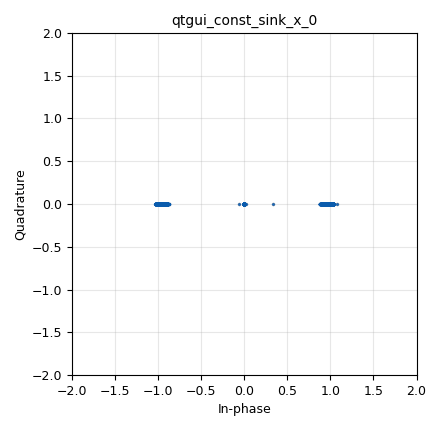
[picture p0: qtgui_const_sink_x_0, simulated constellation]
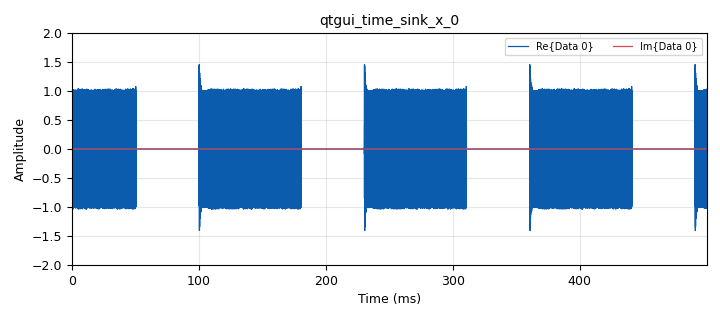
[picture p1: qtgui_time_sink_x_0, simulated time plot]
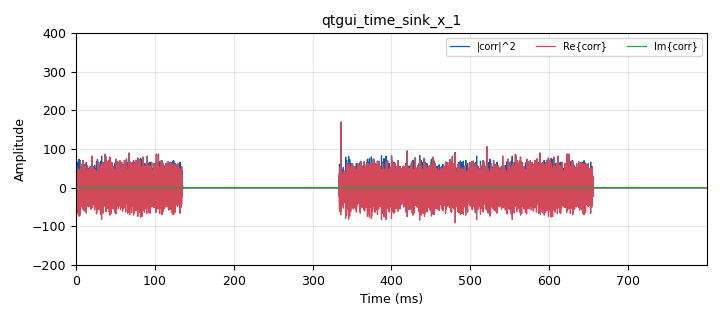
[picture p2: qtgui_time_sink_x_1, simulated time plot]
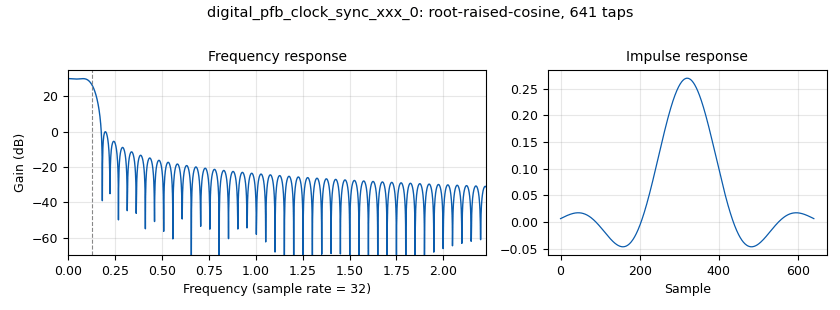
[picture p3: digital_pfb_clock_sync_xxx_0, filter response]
options:
  parameters:
    category: Custom
    generate_options: qt_gui
    id: test_corr_est
    output_language: python
  states: {}

blocks:
- name: bb_filter
  id: variable
  parameters:
    value: firdes.root_raised_cosine(sps, sps, 1, eb, 101)
  states: {}
- name: constel
  id: variable_constellation
  parameters:
    const_points: '[1,-1]'
    dims: '1'
    normalization: digital.constellation.AMPLITUDE_NORMALIZATION
    precision: '8'
    rot_sym: '2'
    sym_map: '[0,1]'
    type: calcdist
  states: {}
- name: data
  id: variable
  parameters:
    value: '[0]*4+[random.getrandbits(8) for i in range(payload_size)]'
  states: {}
- name: delay
  id: variable_qtgui_range
  parameters:
    gui_hint: 5,0,1,2
    label: delay
    start: '0'
    step: '1'
    stop: '200'
    value: '90'
  states: {state: disabled}
- name: eb
  id: variable
  parameters:
    value: '0.35'
  states: {}
- name: freq_offset
  id: variable_qtgui_range
  parameters:
    comment: 频率偏移
    gui_hint: 4,0,1,1
    label: Frequency Offset
    start: '-0.001'
    step: '0.00002'
    stop: '0.001'
    value: '0'
  states: {}
- name: gap
  id: variable
  parameters:
    value: '20000'
  states: {}
- name: matched_filter
  id: variable
  parameters:
    value: firdes.root_raised_cosine(nfilts, nfilts, 1, eb, int(11*sps*nfilts))
  states: {}
- name: modulated_sync_word
  id: variable_modulate_vector
  parameters:
    comment: |-
      调制矢量：调制数据向量并应用整形滤波器
      基于 rxmod 调制器对 preamble 进行调制，生成同步字
    data: preamble
    mod: rxmod
    taps: '[1]'
  states: {}
- name: nfilts
  id: variable
  parameters:
    value: '32'
  states: {}
- name: noise
  id: variable_qtgui_range
  parameters:
    comment: 噪声
    gui_hint: 3,0,1,1
    label: Noise
    start: '0'
    step: '0.005'
    stop: '1'
    value: '0'
  states: {}
- name: payload_size
  id: variable
  parameters:
    value: '992'
  states: {}
- name: phase
  id: variable_qtgui_range
  parameters:
    gui_hint: 3,1,1,1
    label: Phase offset
    start: '-2*numpy.pi'
    step: '0.1'
    stop: 2*numpy.pi
    value: '0'
  states: {}
- name: preamble
  id: variable
  parameters:
    value: '[0xac, 0xdd, 0xa4, 0xe2, 0xf2, 0x8c, 0x20, 0xfc]'
  states: {}
- name: rrc_taps
  id: variable
  parameters:
    value: firdes.root_raised_cosine(nfilts, nfilts, 1.0/float(sps), eb, 5*sps*nfilts)
  states: {}
- name: rxmod
  id: variable
  parameters:
    comment: |-
      https://www.gnuradio.org/doc/sphinx-3.7.1/digital/blocks.html
      digital.generic_mod(constel, False, sps, True, eb, False, False)
      class gnuradio.digital.generic_mod(constellation, differential=False, samples_per_symbol=2, pre_diff_code=True, excess_bw=0.35, verbose=False, log=False)
      创建一个调制器变量（就是发送端的 BPSK 调制，sps = 4）
    value: digital.generic_mod(constel, False, sps, True, eb, False, False)
  states: {}
- name: samp_rate
  id: variable
  parameters:
    value: '100000'
  states: {}
- name: sps
  id: variable
  parameters:
    value: '4'
  states: {}
- name: time_offset
  id: variable_qtgui_range
  parameters:
    comment: 时间偏移
    gui_hint: 4,1,1,1
    label: Timing Offset
    start: '0.995'
    step: '0.00001'
    stop: '1.005'
    value: '1'
  states: {}
- name: blocks_char_to_float_0
  id: blocks_char_to_float
  parameters:
    scale: '1'
  states: {state: disabled}
- name: blocks_char_to_float_0_0
  id: blocks_char_to_float
  parameters:
    scale: '1'
  states: {state: disabled}
- name: blocks_complex_to_float_0
  id: blocks_complex_to_float
  parameters: {}
  states: {}
- name: blocks_complex_to_mag_0
  id: blocks_complex_to_mag
  parameters: {}
  states: {}
- name: blocks_delay_0
  id: blocks_delay
  parameters:
    delay: int(delay)
    type: float
  states: {state: disabled}
- name: blocks_null_source_0
  id: blocks_null_source
  parameters:
    type: byte
  states: {state: disabled}
- name: blocks_null_source_0_0
  id: blocks_null_source
  parameters:
    type: complex
  states: {}
- name: blocks_stream_mux_0
  id: blocks_stream_mux
  parameters:
    lengths: (len(preamble)/8+payload_size), gap/sps/8
    type: byte
  states: {state: disabled}
- name: blocks_stream_mux_0_0
  id: blocks_stream_mux
  parameters:
    comment: ((len(preamble)+len(data))*8*sps, gap) 合流
    lengths: ((len(preamble)+len(data))*8*sps, gap)
    type: complex
  states: {}
- name: blocks_sub_xx_0
  id: blocks_sub_xx
  parameters:
    type: float
  states: {state: disabled}
- name: blocks_throttle_0
  id: blocks_throttle
  parameters:
    samples_per_second: samp_rate
    type: complex
  states: {}
- name: blocks_unpack_k_bits_bb_0
  id: blocks_unpack_k_bits_bb
  parameters:
    k: '8'
  states: {state: disabled}
- name: blocks_vector_source_x_0_0
  id: blocks_vector_source_x
  parameters:
    comment: 8个preamble+992个data
    repeat: 'True'
    type: byte
    vector: preamble+data
  states: {}
- name: channels_channel_model_0
  id: channels_channel_model
  parameters:
    comment: 通道模拟
    epsilon: time_offset
    freq_offset: freq_offset
    noise_voltage: noise
    seed: '0'
    taps: '1.0'
  states: {}
- name: digital_constellation_decoder_cb_0
  id: digital_constellation_decoder_cb
  parameters:
    constellation: constel
  states: {state: disabled}
- name: digital_constellation_modulator_0
  id: digital_constellation_modulator
  parameters:
    comment: BPSK 星座调制
    constellation: constel
    differential: 'False'
    excess_bw: eb
    samples_per_symbol: sps
  states: {}
- name: digital_corr_est_cc_0
  id: digital_corr_est_cc
  parameters:
    comment: |-
      相关性估计器
      相关估计器模块将输入信号与提供的样本向量相关联。
      该块设计用于通过相关搜索同步字，并使用相关结果来获得时间和相位偏移估计。
      这些估计作为流标签向下游传递，以供后续同步块使用。
    mark_delay: '0'
    sps: sps
    symbols: modulated_sync_word
    threshold: '0.9'
    threshold_method: digital.THRESHOLD_ABSOLUTE
  states: {}
- name: digital_costas_loop_cc_0
  id: digital_costas_loop_cc
  parameters:
    order: '2'
    w: 1*3.14/50.0
  states: {}
- name: digital_pfb_clock_sync_xxx_0
  id: digital_pfb_clock_sync_xxx
  parameters:
    filter_size: nfilts
    init_phase: '0'
    loop_bw: 2*3.14/100.0
    max_dev: '0.5'
    osps: '1'
    sps: sps
    taps: rrc_taps
    type: ccf
  states: {}
- name: import_0
  id: import
  parameters:
    imports: import numpy
  states: {}
- name: import_0_0
  id: import
  parameters:
    imports: import random
  states: {}
- name: qtgui_const_sink_x_0
  id: qtgui_const_sink_x
  parameters:
    gui_hint: 0,1,1,1
    name: ''
    size: (len(preamble)+payload_size)*8
    tr_level: '0'
    tr_mode: qtgui.TRIG_MODE_TAG
    tr_tag: time_est
    type: complex
  states: {}
- name: qtgui_time_sink_x_0
  id: qtgui_time_sink_x
  parameters:
    affinity: '0'
    gui_hint: 0,0,1,1
    label1: ''
    label2: ''
    name: ''
    size: '50000'
    srate: samp_rate
    tr_delay: '0.1'
    tr_level: '1'
    tr_mode: qtgui.TRIG_MODE_TAG
    tr_tag: time_est
    type: complex
    ymax: '2'
    ymin: '-2'
  states: {}
- name: qtgui_time_sink_x_0_1
  id: qtgui_time_sink_x
  parameters:
    gui_hint: 2,0,1,2
    label1: ''
    label2: ''
    label3: ''
    name: ''
    nconnections: '3'
    size: '20000'
    srate: samp_rate
    tr_delay: '0.010'
    tr_mode: qtgui.TRIG_MODE_TAG
    tr_tag: time_est
    type: float
    ymax: '2'
    ymin: '-2'
  states: {state: disabled}
- name: qtgui_time_sink_x_1
  id: qtgui_time_sink_x
  parameters:
    comment: 图像显示采样率 100KHz，则一个符号占 10us
    gui_hint: 1,0,1,2
    label1: '|corr|^2'
    label2: Re{corr}
    label3: Im{corr}
    name: ''
    nconnections: '3'
    size: '80000'
    srate: samp_rate
    tr_level: '100'
    tr_mode: qtgui.TRIG_MODE_NORM
    type: float
    ymax: '400'
    ymin: '-200'
  states: {}

connections:
- [blocks_char_to_float_0, '0', blocks_delay_0, '0']
- [blocks_char_to_float_0_0, '0', blocks_sub_xx_0, '0']
- [blocks_char_to_float_0_0, '0', qtgui_time_sink_x_0_1, '0']
- [blocks_complex_to_float_0, '0', qtgui_time_sink_x_1, '1']
- [blocks_complex_to_float_0, '1', qtgui_time_sink_x_1, '2']
- [blocks_complex_to_mag_0, '0', qtgui_time_sink_x_1, '0']
- [blocks_delay_0, '0', blocks_sub_xx_0, '1']
- [blocks_delay_0, '0', qtgui_time_sink_x_0_1, '1']
- [blocks_null_source_0, '0', blocks_stream_mux_0, '1']
- [blocks_null_source_0_0, '0', blocks_stream_mux_0_0, '1']
- [blocks_stream_mux_0, '0', blocks_unpack_k_bits_bb_0, '0']
- [blocks_stream_mux_0_0, '0', blocks_throttle_0, '0']
- [blocks_sub_xx_0, '0', qtgui_time_sink_x_0_1, '2']
- [blocks_throttle_0, '0', channels_channel_model_0, '0']
- [blocks_unpack_k_bits_bb_0, '0', blocks_char_to_float_0, '0']
- [blocks_vector_source_x_0_0, '0', digital_constellation_modulator_0, '0']
- [channels_channel_model_0, '0', digital_corr_est_cc_0, '0']
- [digital_constellation_decoder_cb_0, '0', blocks_char_to_float_0_0, '0']
- [digital_constellation_modulator_0, '0', blocks_stream_mux_0_0, '0']
- [digital_corr_est_cc_0, '0', digital_pfb_clock_sync_xxx_0, '0']
- [digital_corr_est_cc_0, '1', blocks_complex_to_float_0, '0']
- [digital_corr_est_cc_0, '1', blocks_complex_to_mag_0, '0']
- [digital_costas_loop_cc_0, '0', digital_constellation_decoder_cb_0, '0']
- [digital_costas_loop_cc_0, '0', qtgui_const_sink_x_0, '0']
- [digital_costas_loop_cc_0, '0', qtgui_time_sink_x_0, '0']
- [digital_pfb_clock_sync_xxx_0, '0', digital_costas_loop_cc_0, '0']

metadata:
  file_format: 1
  grc_version: 3.10.9.2
